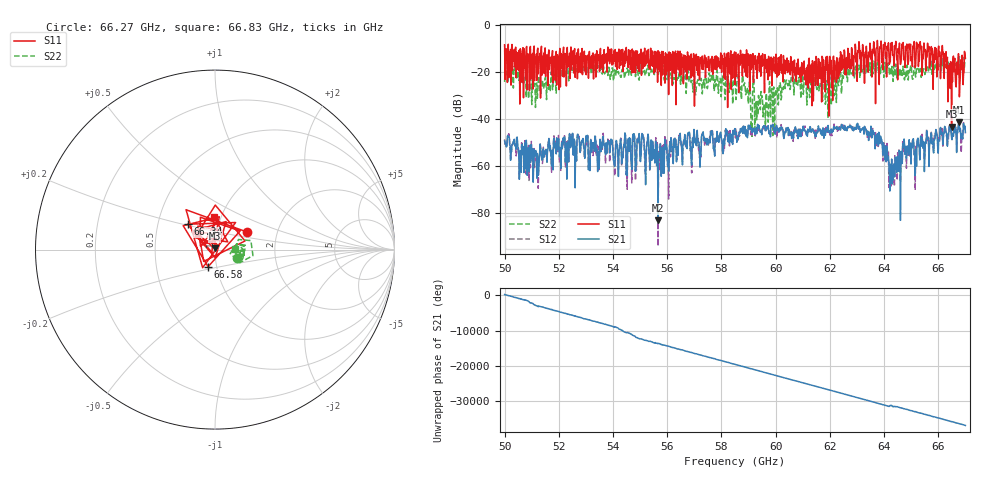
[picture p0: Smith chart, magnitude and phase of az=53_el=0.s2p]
!Created with skrf (http://scikit-rf.org).
# GHz S RI R 50.0
!freq ReS11 ImS11 ReS21 ImS21 ReS12 ImS12 ReS22 ImS22
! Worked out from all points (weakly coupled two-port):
!   1001 points, 50 GHz to 67 GHz, reference 50 ohm
!   highest |S21| = -41.31 dB at 66.76 GHz (marker M1); lowest = -83.4 dB at 55.66 GHz (marker M2)
!   lowest |S11| = -43.2 dB at 66.49 GHz (marker M3), VSWR 1.01, Z = 49.7 + j0.632 ohm
!   |S11| at or under -10 dB: 52.86 GHz to 53.54 GHz (679 MHz wide, 1.28 % of centre); 55.39 GHz to 62.66 GHz (7.275 GHz wide, 12.3 % of centre); 66.16 GHz to end of sweep (the widest 3 of 60)
!   |S22| runs from -48.2 to -13.4 dB; largest |S21 - S12| = 0.0025
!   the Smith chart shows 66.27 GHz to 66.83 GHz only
!   S11 on the Smith chart (normalised r, x): 66.27 GHz: 1.40, +0.29; 66.34 GHz: 0.71, +0.21; 66.58 GHz: 0.91, -0.18; 66.83 GHz: 0.93, +0.35
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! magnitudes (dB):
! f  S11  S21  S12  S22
! 50 GHz  -8.3  -49.4  -48.7  -24.2
! 51.19 GHz  -23.5  -65.3  -60.0  -25.5
! 52.84 GHz  -12.4  -49.6  -49.9  -19.7
! 55.03 GHz  -10.2  -56.1  -55.9  -18.6
! 55.66 GHz  -10.8  -83.4  -94.4  -20.9
! 55.68 GHz  -13.2  -54.7  -54.0  -20.9
! 58.5 GHz  -25.3  -44.1  -44.5  -23.6
! 59.66 GHz  -14.6  -43.7  -43.2  -28.9
! 60.39 GHz  -16.9  -43.8  -44.1  -23.4
! 61.34 GHz  -34.3  -44.6  -44.4  -26.7
! 62 GHz  -13.3  -46.1  -45.9  -23.5
! 63.55 GHz  -22.1  -48.1  -47.9  -15.5
! 64.18 GHz  -12.0  -59.1  -69.3  -17.5
! 64.3 GHz  -7.3  -67.8  -65.5  -17.5
! 64.77 GHz  -18.0  -55.1  -53.5  -20.3
! 66.27 GHz  -13.8  -45.1  -44.0  -17.7
! 66.34 GHz  -13.6  -51.6  -51.0  -17.5
! 66.49 GHz  -43.2  -48.1  -47.0  -15.7
! 66.58 GHz  -19.8  -44.3  -44.4  -15.6
! 66.76 GHz  -17.7  -41.3  -41.4  -16.1
! 66.83 GHz  -14.7  -46.5  -47.1  -19.1
! 67 GHz  -14.1  -45.6  -46.2  -14.3
